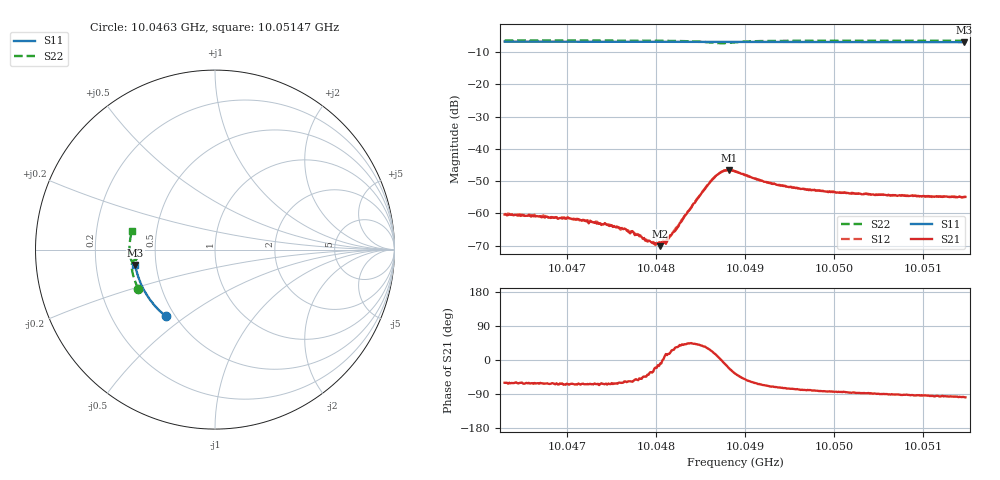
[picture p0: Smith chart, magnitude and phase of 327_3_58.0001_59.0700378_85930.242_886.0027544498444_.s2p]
#  HZ  S  RI  R  50.00
! Rohde & Schwarz Vector Network Analyzer
! Rohde-Schwarz,ZNB20-2Port,1311601062101988,3.16
! Created: UTC 3/21/2024, 1:04:57 AM
! freq[Hz]  re:S11  im:S11  re:S21  im:S21  re:S12  im:S12  re:S22  im:S22
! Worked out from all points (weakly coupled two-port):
!   401 points, 10.0463 GHz to 10.05147 GHz, reference 50 ohm
!   highest |S21| = -46.63 dB at 10.04882 GHz (marker M1); lowest = -70.2 dB at 10.04804 GHz (marker M2)
!   lowest |S11| = -6.9 dB at 10.05146 GHz (marker M3), VSWR 2.65, Z = 19 - j4.07 ohm
!   |S11| at or under -10 dB: nowhere
!   |S22| runs from -7.2 to -6.4 dB; largest |S21 - S12| = 0.00031
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1.0046299e10  -0.2749 -0.3705  0.00048 -0.000832  0.00054 -0.000816  -0.4277 -0.219
1.0046752e10  -0.2977 -0.351  0.000402 -0.000762  0.000448 -0.000759  -0.44 -0.1914
1.0047166e10  -0.3175 -0.3322  0.000349 -0.000686  0.000416 -0.000693  -0.4496 -0.1648
1.004754e10  -0.3342 -0.3141  0.000287 -0.000548  0.000337 -0.000564  -0.4571 -0.1397
1.0047644e10  -0.3387 -0.309  0.000322 -0.000484  0.000322 -0.00045  -0.4586 -0.1326
1.0047825e10  -0.3464 -0.2997  0.000288 -0.000338  0.000319 -0.000323  -0.4613 -0.1195
1.0047902e10  -0.3497 -0.2958  0.000292 -0.000235  0.0003 -0.000204  -0.4624 -0.114
1.004798e10  -0.3527 -0.2917  0.000309 -0.00013  0.000312 -0.000125  -0.4629 -0.108
1.0048032e10  -0.3548 -0.289  0.000337 -9.63e-05  0.000338 -5.65e-05  -0.4635 -0.1037
1.0048045e10  -0.3553 -0.2884  0.000306 -5.07e-05  0.000353 -2.83e-05  -0.4635 -0.1028
1.0048096e10  -0.3575 -0.2856  0.000357 6.31e-05  0.000396 4.77e-05  -0.4637 -0.0988
1.0048135e10  -0.3591 -0.2835  0.000387 0.000113  0.000384 0.000149  -0.4639 -0.0957
1.0048497e10  -0.3726 -0.2639  0.00151 0.00121  0.00146 0.00133  -0.4551 -0.0632
1.0048652e10  -0.3779 -0.2554  0.00342 0.00107  0.00335 0.00132  -0.4382 -0.0571
1.0048743e10  -0.381 -0.2505  0.00446 -0.000237  0.00449 2e-05  -0.4308 -0.0659
1.004882e10  -0.3837 -0.2462  0.00431 -0.00178  0.00444 -0.00153  -0.4347 -0.0753
1.0048885e10  -0.3859 -0.2428  0.00364 -0.00261  0.00384 -0.00239  -0.4428 -0.0782
1.0049286e10  -0.399 -0.2198  0.000997 -0.00276  0.00119 -0.0027  -0.4702 -0.0496
1.0049751e10  -0.4122 -0.1922  0.000377 -0.00228  0.000552 -0.00226  -0.4755 -0.0137
1.0050617e10  -0.4316 -0.1388  -1.31e-05 -0.00192  0.000117 -0.00192  -0.4739 0.0465
1.0051458e10  -0.4441 -0.0851  -0.000256 -0.00179  -0.00014 -0.00178  -0.4648 0.1018
1.005147e10  -0.4443 -0.0845  -0.000265 -0.00178  -0.00015 -0.00179  -0.4646 0.1025
